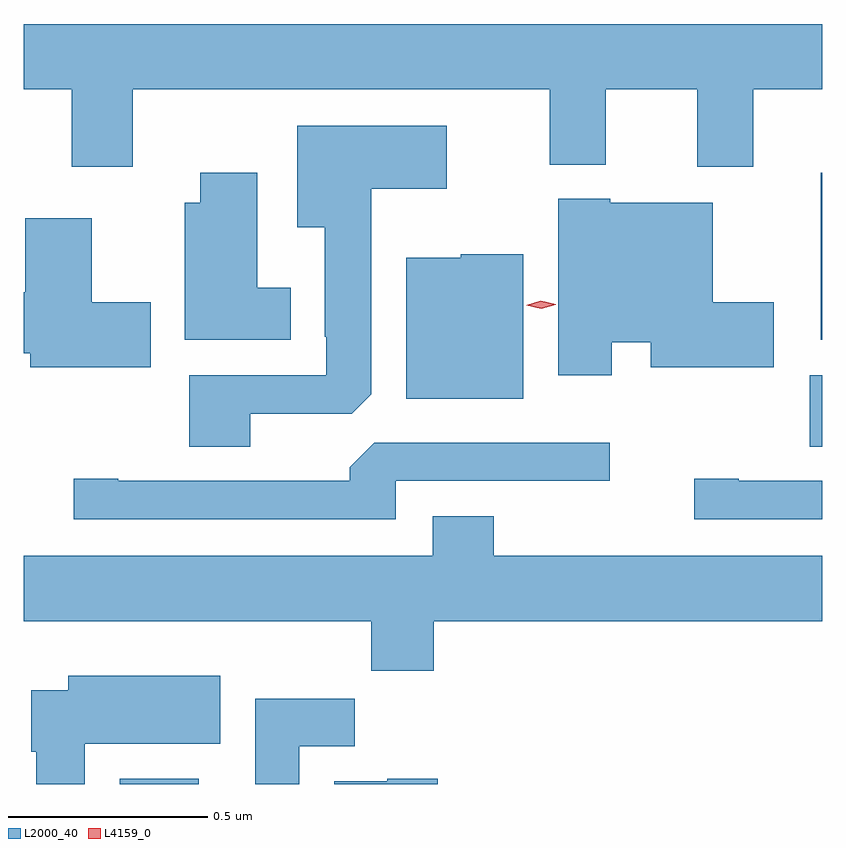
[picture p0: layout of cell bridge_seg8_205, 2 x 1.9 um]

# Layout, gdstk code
import gdstk
lib = gdstk.Library(unit=1e-6, precision=1e-09)
def R(c, l, rs):  # rectangles x0, y0, x1, y1
    for r in rs: c.add(gdstk.rectangle(r[:2], r[2:], *l))
def P(c, l, *ps):  # polygons
    for p in ps: c.add(gdstk.Polygon(p, *l))
L2000_40 = (2000, 40)
L4159_0 = (4159, 0)

bridge_seg8_205 = lib.new_cell('bridge_seg8_205')
R(bridge_seg8_205, L2000_40, [(173.576,1109.433,173.773,1109.446), (175.304,1110.277,175.335,1110.456), (175.331,1110.545,175.335,1110.964)])
P(bridge_seg8_205, L2000_40, [(173.608,1111.172),(174.653,1111.172),(174.653,1110.983),(174.793,1110.983),(174.793,1111.172),(175.022,1111.172),(175.022,1110.978),(175.162,1110.978),(175.162,1111.172),(175.335,1111.172),(175.335,1111.336),(173.335,1111.336),(173.335,1111.172),(173.456,1111.172),(173.456,1110.978),(173.608,1110.978)],
  [(173.902,1110.36),(174.156,1110.36),(174.205,1110.409),(174.205,1110.923),(174.394,1110.923),(174.394,1111.081),(174.02,1111.081),(174.02,1110.827),(174.089,1110.827),(174.089,1110.553),(174.093,1110.553),(174.093,1110.456),(173.75,1110.456),(173.75,1110.277),(173.902,1110.277)],
  [(174.004,1110.676),(173.92,1110.676),(173.92,1110.964),(173.777,1110.964),(173.777,1110.889),(173.738,1110.889),(173.738,1110.545),(174.004,1110.545)],
  [(174.808,1110.539),(174.905,1110.539),(174.905,1110.476),(175.213,1110.476),(175.213,1110.639),(175.06,1110.639),(175.06,1110.889),(174.804,1110.889),(174.804,1110.898),(174.674,1110.898),(174.674,1110.456),(174.808,1110.456)],
  [(173.653,1110.639),(173.506,1110.639),(173.506,1110.85),(173.339,1110.85),(173.339,1110.664),(173.335,1110.664),(173.335,1110.512),(173.351,1110.512),(173.351,1110.476),(173.653,1110.476)],
  [(174.586,1110.76),(174.429,1110.76),(174.429,1110.751),(174.293,1110.751),(174.293,1110.398),(174.586,1110.398)],
  [(174.267,1110.192),(174.802,1110.192),(174.802,1110.288),(174.213,1110.288),(174.152,1110.226),(174.152,1110.192),(173.572,1110.192),(173.572,1110.197),(173.46,1110.197),(173.46,1110.096),(174.267,1110.096)],
  [(175.335,1110.192),(175.126,1110.192),(175.126,1110.197),(175.014,1110.197),(175.014,1110.096),(175.335,1110.096)],
  [(174.362,1109.84),(175.335,1109.84),(175.335,1110.004),(174.512,1110.004),(174.512,1110.103),(174.359,1110.103),(174.359,1110.004),(173.335,1110.004),(173.335,1109.84),(174.205,1109.84),(174.205,1109.716),(174.362,1109.716)],
  [(173.488,1109.534),(173.827,1109.534),(173.827,1109.704),(173.447,1109.704),(173.447,1109.668),(173.354,1109.668),(173.354,1109.514),(173.366,1109.514),(173.366,1109.433),(173.488,1109.433)],
  [(174.025,1109.528),(174.164,1109.528),(174.164,1109.646),(173.915,1109.646),(173.915,1109.433),(174.025,1109.433)],
  [(174.372,1109.446),(174.246,1109.446),(174.246,1109.44),(174.113,1109.44),(174.113,1109.433),(174.372,1109.433)])
P(bridge_seg8_205, L4159_0, [(174.631,1110.623),(174.593,1110.632),(174.593,1110.632),(174.593,1110.632),(174.63,1110.643),(174.668,1110.634),(174.668,1110.634),(174.668,1110.633)])

lib.write_gds('bridge_seg8_205.gds')
